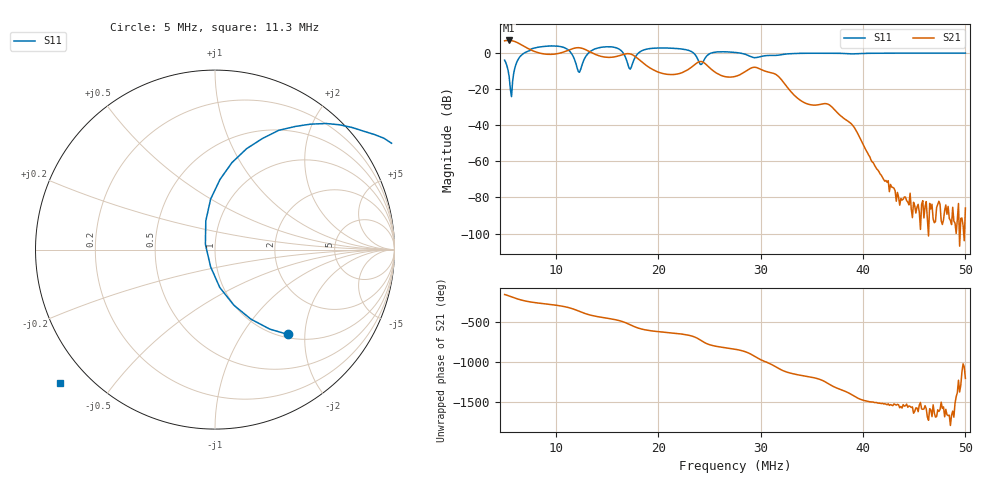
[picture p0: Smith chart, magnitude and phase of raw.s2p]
! S11/S21 only; reverse parameters are placeholders. Device calibration unverified.
! NanoVNA F V2 profile | COM3 | 2026-09-08T12:19:09.6804447-04:00 | device calibration unverified
# HZ S RI R 50
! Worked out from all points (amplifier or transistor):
!   401 points, 5 MHz to 50 MHz, reference 50 ohm
!   highest |S21| = 6.8 dB at 5.45 MHz (marker M1)
!   |S21| within 3 dB of that: start of sweep to 6.826 MHz
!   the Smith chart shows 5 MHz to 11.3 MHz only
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5000000  0.4057 -0.4727  -1.954 -0.8693  0 0  0 0
5450000  0.0263 -0.2107  -2.177 -0.2113  0 0  0 0
6350000  0.2638 0.6188  -1.514 1.044  0 0  0 0
7250000  0.8855 0.642  -0.6108 1.178  0 0  0 0
7812500  0.5605 -1.204  -0.2986 1.075  0 0  0 0
9725000  -0.1315 -1.535  0.2302 0.878  0 0  0 0
1.14125e7  -0.8641 -0.6053  1.007 0.7018  0 0  0 0
1.25375e7  0.3511 0.2632  1.268 -0.4209  0 0  0 0
1.36625e7  1.078 -0.567  0.4486 -0.8402  0 0  0 0
1.54625e7  0.5508 -1.34  -0.16 -0.734  0 0  0 0
1.625e7  -0.1082 -1.222  -0.4721 -0.6913  0 0  0 0
1.6925e7  -0.5246 -0.3011  -0.8493 -0.4029  0 0  0 0
1.77125e7  0.4968 0.5112  -0.7541 0.2769  0 0  0 0
2.0075e7  1.275 -0.458  -0.0439 0.2829  0 0  0 0
2.39e7  0.3551 -0.5211  0.5382 0.1044  0 0  0 0
2.4575e7  0.7033 -0.0778  0.3809 -0.3278  0 0  0 0
2.75e7  0.8655 -0.5436  -0.1117 -0.19  0 0  0 0
3.12125e7  0.7235 -0.429  0.2118 0.1697  0 0  0 0
3.50375e7  0.7021 -0.6656  -0.0137 -0.0332  0 0  0 0
3.88625e7  0.536 -0.7641  0.00901 0.006  0 0  0 0
4.2575e7  0.4421 -0.8686  -3.4e-05 -0.00014  0 0  0 0
5e7  0.1584 -0.9633  -3e-05 -4.1e-05  0 0  0 0
